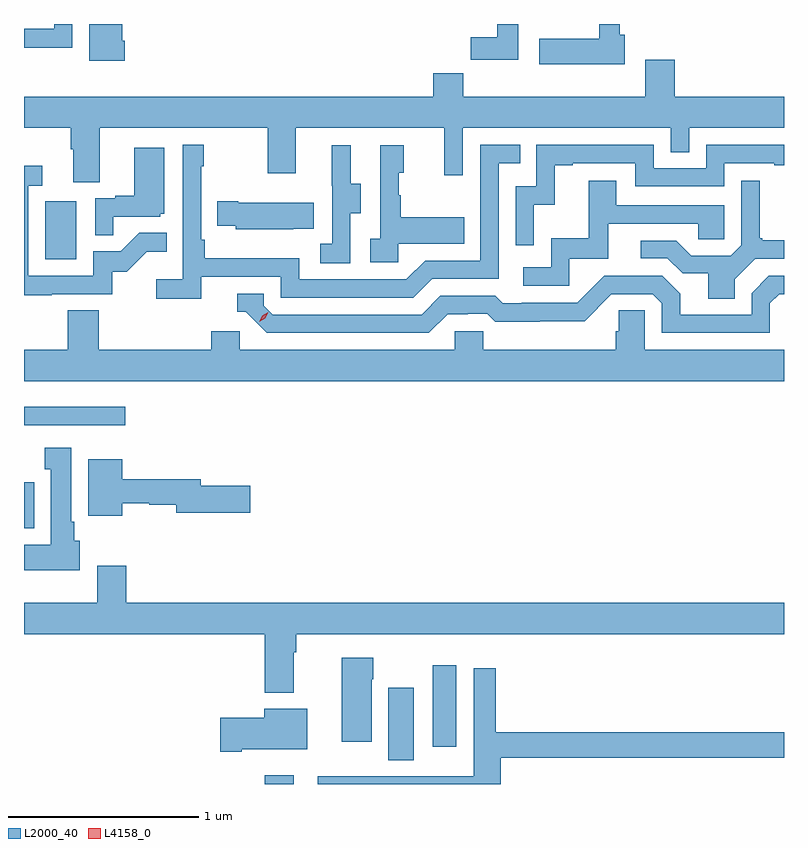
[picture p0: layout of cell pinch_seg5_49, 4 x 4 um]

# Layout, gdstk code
import gdstk
lib = gdstk.Library(unit=1e-6, precision=1e-09)
def R(c, l, rs):  # rectangles x0, y0, x1, y1
    for r in rs: c.add(gdstk.rectangle(r[:2], r[2:], *l))
def P(c, l, *ps):  # polygons
    for p in ps: c.add(gdstk.Polygon(p, *l))
L2000_40 = (2000, 40)
L4158_0 = (4158, 0)

pinch_seg5_49 = lib.new_cell('pinch_seg5_49')
R(pinch_seg5_49, L2000_40, [(1084.889,901.259,1085.041,901.306), (1085.54,901.384,1085.674,901.765), (1085.774,901.455,1085.896,901.885), (1083.622,902.606,1083.676,902.848), (1083.622,903.147,1084.156,903.244), (1083.734,904.02,1083.898,904.327)])
P(pinch_seg5_49, L2000_40, [(1084.151,905.17),(1084.138,905.17),(1084.138,905.259),(1083.965,905.259),(1083.965,905.066),(1084.151,905.066)],
  [(1083.876,905.259),(1083.78,905.259),(1083.78,905.235),(1083.622,905.235),(1083.622,905.134),(1083.876,905.134)],
  [(1086.784,905.202),(1086.757,905.202),(1086.757,905.259),(1086.65,905.259),(1086.65,905.182),(1086.333,905.182),(1086.333,905.048),(1086.784,905.048)],
  [(1086.223,905.259),(1086.113,905.259),(1086.113,905.188),(1085.974,905.188),(1085.974,905.07),(1086.223,905.07)],
  [(1083.622,904.712),(1083.869,904.712),(1083.869,904.6),(1083.881,904.6),(1083.881,904.426),(1084.021,904.426),(1084.021,904.712),(1084.906,904.712),(1084.906,904.473),(1085.053,904.473),(1085.053,904.712),(1085.834,904.712),(1085.834,904.464),(1085.931,904.464),(1085.931,904.712),(1087.026,904.712),(1087.026,904.585),(1087.122,904.585),(1087.122,904.712),(1087.622,904.712),(1087.622,904.876),(1087.046,904.876),(1087.046,905.071),(1086.893,905.071),(1086.893,904.876),(1085.933,904.876),(1085.933,905),(1085.777,905),(1085.777,904.876),(1083.622,904.876)],
  [(1084.556,903.93),(1084.974,903.93),(1084.974,903.819),(1085.671,903.819),(1085.77,903.918),(1086.12,903.918),(1086.12,904.527),(1086.233,904.527),(1086.233,904.623),(1086.024,904.623),(1086.024,904.014),(1085.733,904.014),(1085.634,903.915),(1085.07,903.915),(1085.07,904.027),(1084.574,904.027),(1084.574,904.123),(1084.554,904.123),(1084.554,904.511),(1084.567,904.511),(1084.567,904.624),(1084.458,904.624),(1084.458,903.916),(1084.317,903.916),(1084.317,903.814),(1084.556,903.814)],
  [(1086.306,904.307),(1086.416,904.307),(1086.416,904.515),(1086.511,904.515),(1086.511,904.527),(1086.84,904.527),(1086.84,904.404),(1087.308,904.404),(1087.308,904.527),(1087.571,904.527),(1087.571,904.515),(1087.622,904.515),(1087.622,904.623),(1087.212,904.623),(1087.212,904.5),(1086.936,904.5),(1086.936,904.623),(1086.318,904.623),(1086.318,904.404),(1086.21,904.404),(1086.21,904.095),(1086.306,904.095)],
  [(1085.592,904.103),(1085.939,904.103),(1085.939,904.243),(1085.605,904.243),(1085.605,904.358),(1085.595,904.358),(1085.595,904.476),(1085.62,904.476),(1085.62,904.621),(1085.496,904.621),(1085.496,904.13),(1085.445,904.13),(1085.445,904.005),(1085.592,904.005)],
  [(1085.34,904.264),(1085.395,904.264),(1085.395,904.419),(1085.341,904.419),(1085.341,904.621),(1085.243,904.621),(1085.243,904.407),(1085.244,904.407),(1085.244,904.103),(1085.181,904.103),(1085.181,904),(1085.34,904)],
  [(1084.091,904.245),(1084.338,904.245),(1084.338,904.26),(1084.36,904.26),(1084.36,904.609),(1084.202,904.609),(1084.202,904.354),(1084.103,904.354),(1084.103,904.341),(1083.996,904.341),(1083.996,904.147),(1084.091,904.147)],
  [(1083.767,903.837),(1084.086,903.837),(1084.086,903.954),(1084.162,903.954),(1084.269,904.061),(1084.373,904.061),(1084.373,904.16),(1084.229,904.16),(1084.131,904.062),(1083.987,904.062),(1083.987,903.933),(1083.645,903.933),(1083.645,904.407),(1083.718,904.407),(1083.718,904.513),(1083.622,904.513),(1083.622,903.832),(1083.767,903.832)],
  [(1087.363,903.916),(1087.47,904.023),(1087.622,904.023),(1087.622,904.12),(1087.507,904.12),(1087.507,904.132),(1087.495,904.132),(1087.495,904.435),(1087.398,904.435),(1087.398,904.095),(1087.341,904.038),(1087.135,904.038),(1087.054,904.119),(1086.867,904.119),(1086.867,904.026),(1087.008,904.026),(1087.088,903.946),(1087.223,903.946),(1087.223,903.814),(1087.363,903.814)],
  [(1086.492,904.023),(1086.697,904.023),(1086.697,904.209),(1087.171,904.209),(1087.171,904.125),(1087.308,904.125),(1087.308,904.305),(1086.739,904.305),(1086.739,904.435),(1086.595,904.435),(1086.595,904.132),(1086.396,904.132),(1086.396,903.978),(1086.249,903.978),(1086.249,903.882),(1086.492,903.882)],
  [(1085.039,904.181),(1085.147,904.181),(1085.147,904.318),(1084.75,904.318),(1084.75,904.326),(1084.639,904.326),(1084.639,904.196),(1084.737,904.196),(1084.737,904.178),(1085.039,904.178)],
  [(1085.851,903.732),(1085.958,903.732),(1085.958,903.735),(1086.061,903.735),(1086.103,903.693),(1086.336,903.693),(1086.336,903.695),(1086.572,903.695),(1086.714,903.837),(1086.93,903.837),(1086.978,903.789),(1086.978,903.633),(1087.548,903.633),(1087.548,903.789),(1087.596,903.837),(1087.622,903.837),(1087.622,903.933),(1087.542,903.933),(1087.452,903.843),(1087.452,903.729),(1087.075,903.729),(1087.075,903.839),(1086.981,903.933),(1086.675,903.933),(1086.534,903.792),(1086.241,903.792),(1086.241,903.789),(1086.142,903.789),(1086.103,903.828),(1085.814,903.828),(1085.715,903.729),(1084.932,903.729),(1084.884,903.777),(1084.884,903.84),(1084.745,903.84),(1084.745,903.744),(1084.788,903.744),(1084.899,903.633),(1085.752,903.633)],
  [(1087.622,903.544),(1086.888,903.544),(1086.888,903.752),(1086.751,903.752),(1086.751,903.642),(1086.737,903.642),(1086.737,903.544),(1086.039,903.544),(1086.039,903.642),(1085.889,903.642),(1085.889,903.544),(1084.758,903.544),(1084.758,903.642),(1084.607,903.642),(1084.607,903.544),(1084.016,903.544),(1084.016,903.752),(1083.851,903.752),(1083.851,903.544),(1083.622,903.544),(1083.622,903.38),(1087.622,903.38)],
  [(1083.916,902.538),(1083.886,902.538),(1083.886,902.638),(1083.871,902.638),(1083.871,903.028),(1083.731,903.028),(1083.731,902.915),(1083.764,902.915),(1083.764,902.518),(1083.622,902.518),(1083.622,902.384),(1083.916,902.384)],
  [(1084.138,902.736),(1084.281,902.736),(1084.281,902.728),(1084.424,902.728),(1084.424,902.686),(1084.813,902.686),(1084.813,902.828),(1084.552,902.828),(1084.552,902.864),(1084.138,902.864),(1084.138,902.968),(1083.959,902.968),(1083.959,902.672),(1084.138,902.672)],
  [(1085.041,901.952),(1085.054,901.952),(1085.054,902.048),(1087.622,902.048),(1087.622,902.212),(1084.16,902.212),(1084.16,902.407),(1084.007,902.407),(1084.007,902.212),(1083.622,902.212),(1083.622,902.048),(1084.889,902.048),(1084.889,901.739),(1085.041,901.739)],
  [(1085.452,901.811),(1085.46,901.811),(1085.46,901.924),(1085.294,901.924),(1085.294,901.482),(1085.452,901.482)],
  [(1086.131,901.396),(1087.622,901.396),(1087.622,901.532),(1086.104,901.532),(1086.104,901.867),(1085.988,901.867),(1085.988,901.3),(1085.778,901.3),(1085.778,901.299),(1085.444,901.299),(1085.444,901.301),(1085.169,901.301),(1085.169,901.259),(1086.131,901.259)],
  [(1084.768,901.442),(1085.113,901.442),(1085.113,901.654),(1084.886,901.654),(1084.886,901.608),(1084.656,901.608),(1084.656,901.43),(1084.768,901.43)])
P(pinch_seg5_49, L4158_0, [(1084.86,903.691),(1084.86,903.691),(1084.877,903.724),(1084.908,903.743),(1084.908,903.743),(1084.908,903.743),(1084.892,903.71),(1084.861,903.691)])

lib.write_gds('pinch_seg5_49.gds')
